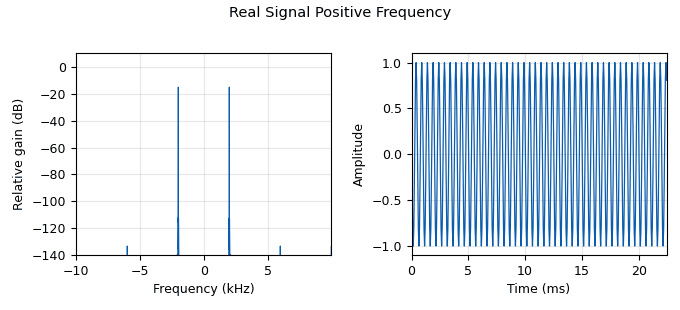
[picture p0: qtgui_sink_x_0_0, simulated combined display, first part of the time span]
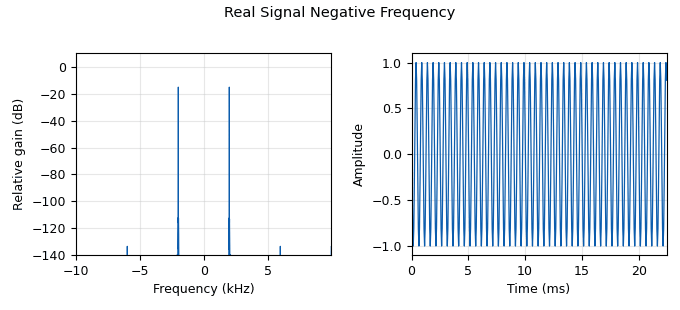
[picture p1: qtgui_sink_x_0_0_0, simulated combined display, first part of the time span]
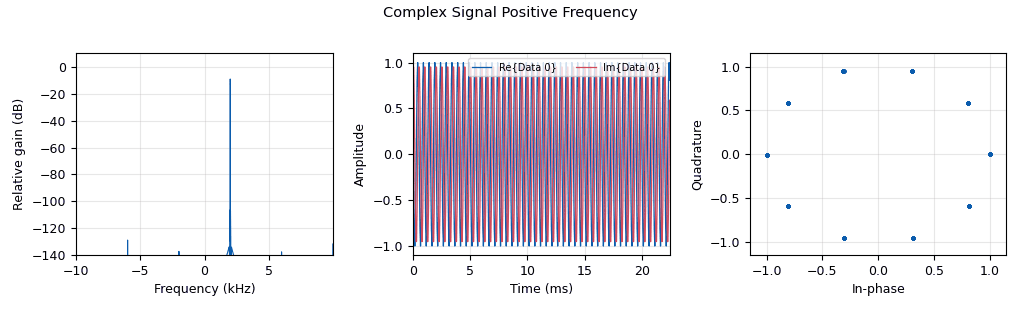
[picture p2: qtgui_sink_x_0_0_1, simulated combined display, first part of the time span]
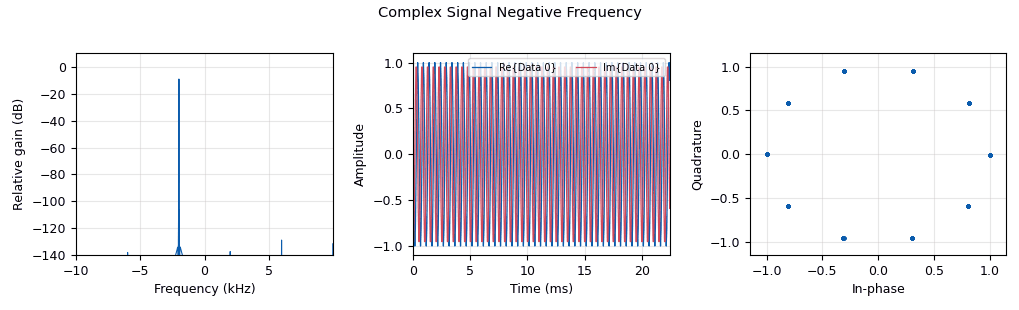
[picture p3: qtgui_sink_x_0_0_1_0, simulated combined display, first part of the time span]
options:
  parameters:
    generate_options: qt_gui
    id: complex_signals
    output_language: python
    title: Not titled yet
  states: {}

blocks:
- name: Fc
  id: variable_qtgui_range
  parameters:
    label: Frequency Fc (Hz)
    start: '0'
    step: '1'
    stop: 4*samp_rate
    value: '2000'
  states: {}
- name: samp_rate
  id: variable
  parameters:
    value: 20e3
  states: {}
- name: analog_sig_source_x_0
  id: analog_sig_source_x
  parameters:
    amp: '1'
    freq: Fc
    offset: '0'
    phase: '0'
    samp_rate: samp_rate
    type: float
    waveform: analog.GR_COS_WAVE
  states: {}
- name: analog_sig_source_x_0_0
  id: analog_sig_source_x
  parameters:
    amp: '1'
    freq: '-Fc'
    offset: '0'
    phase: '0'
    samp_rate: samp_rate
    type: float
    waveform: analog.GR_COS_WAVE
  states: {}
- name: analog_sig_source_x_0_1
  id: analog_sig_source_x
  parameters:
    amp: '1'
    freq: Fc
    offset: '0'
    phase: '0'
    samp_rate: samp_rate
    type: complex
    waveform: analog.GR_COS_WAVE
  states: {}
- name: analog_sig_source_x_0_1_0
  id: analog_sig_source_x
  parameters:
    amp: '1'
    freq: '-Fc'
    offset: '0'
    phase: '0'
    samp_rate: samp_rate
    type: complex
    waveform: analog.GR_COS_WAVE
  states: {}
- name: qtgui_sink_x_0_0
  id: qtgui_sink_x
  parameters:
    bw: samp_rate
    fc: '0'
    fftsize: 1024*8
    name: '"Real Signal Positive Frequency"'
    type: float
  states: {}
- name: qtgui_sink_x_0_0_0
  id: qtgui_sink_x
  parameters:
    bw: samp_rate
    fc: '0'
    fftsize: 1024*8
    name: '"Real Signal Negative Frequency"'
    type: float
  states: {}
- name: qtgui_sink_x_0_0_1
  id: qtgui_sink_x
  parameters:
    bw: samp_rate
    fc: '0'
    fftsize: 1024*8
    name: '"Complex Signal Positive Frequency"'
    type: complex
  states: {}
- name: qtgui_sink_x_0_0_1_0
  id: qtgui_sink_x
  parameters:
    bw: samp_rate
    fc: '0'
    fftsize: 1024*8
    name: '"Complex Signal Negative Frequency"'
    type: complex
  states: {}

connections:
- [analog_sig_source_x_0, '0', qtgui_sink_x_0_0, '0']
- [analog_sig_source_x_0_0, '0', qtgui_sink_x_0_0_0, '0']
- [analog_sig_source_x_0_1, '0', qtgui_sink_x_0_0_1, '0']
- [analog_sig_source_x_0_1_0, '0', qtgui_sink_x_0_0_1_0, '0']

metadata:
  file_format: 1
  grc_version: 3.10.8.0
